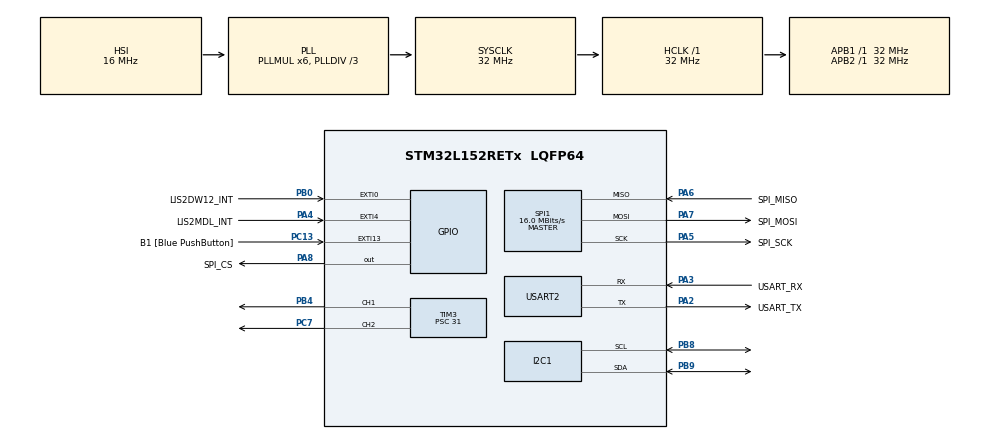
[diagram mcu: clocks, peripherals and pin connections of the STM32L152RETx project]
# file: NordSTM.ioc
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I2C1.I2C_Mode=I2C_Fast
Mcu.Family=STM32L1
Mcu.Name=STM32L152RETx
Mcu.Package=LQFP64
NVIC.EXTI15_10_IRQn=true\:0\:0\:false\:false\:true\:true\:true\:true
NVIC.EXTI4_IRQn=true\:0\:0\:false\:false\:true\:true\:true\:true
NVIC.PriorityGroup=NVIC_PRIORITYGROUP_0
NVIC.TIM3_IRQn=true\:0\:0\:false\:false\:true\:true\:true\:true
PA13.GPIO_Label=TMS
PA13.Mode=Serial_Wire
PA13.Signal=SYS_JTMS-SWDIO
PA14.GPIO_Label=TCK
PA14.Mode=Serial_Wire
PA14.Signal=SYS_JTCK-SWCLK
PA2.GPIO_Label=USART_TX
PA2.Mode=Asynchronous
PA2.Signal=USART2_TX
PA3.GPIO_Label=USART_RX
PA3.Mode=Asynchronous
PA3.Signal=USART2_RX
PA4.GPIO_Label=LIS2MDL_INT
PA4.Signal=GPXTI4
PA5.GPIO_Label=SPI_SCK
PA5.Mode=Full_Duplex_Master
PA5.Signal=SPI1_SCK
PA6.GPIO_Label=SPI_MISO
PA6.Mode=Full_Duplex_Master
PA6.Signal=SPI1_MISO
PA7.GPIO_Label=SPI_MOSI
PA7.Mode=Full_Duplex_Master
PA7.Signal=SPI1_MOSI
PA8.GPIO_Label=SPI_CS
PA8.Signal=GPIO_Output
PB0.GPIO_Label=LIS2DW12_INT
PB0.Signal=GPXTI0
PB3.GPIO_Label=SWO
PB3.Signal=SYS_JTDO-TRACESWO
PB4.Signal=S_TIM3_CH1
PB8.Mode=I2C
PB8.Signal=I2C1_SCL
PB9.Mode=I2C
PB9.Signal=I2C1_SDA
PC13-WKUP2.GPIO_Label=B1 [Blue PushButton]
PC13-WKUP2.Signal=GPXTI13
PC7.Signal=S_TIM3_CH2
PH1-OSC_OUT.Signal=RCC_OSC_OUT
ProjectManager.HeapSize=0x200
ProjectManager.StackSize=0x400
ProjectManager.TargetToolchain=STM32CubeIDE
RCC.48MHZClocksFreq_Value=48000000
RCC.AHBFreq_Value=32000000
RCC.APB1Freq_Value=32000000
RCC.APB1TimFreq_Value=32000000
RCC.APB2Freq_Value=32000000
RCC.APB2TimFreq_Value=32000000
RCC.HCLKFreq_Value=32000000
RCC.HSE_VALUE=8000000
RCC.HSI_VALUE=16000000
RCC.LSE_VALUE=32768
RCC.MSI_VALUE=2097000
RCC.PLLDIV=RCC_PLL_DIV3
RCC.PLLMUL=RCC_PLL_MUL6
RCC.RTCClockSelectionVirtual=RCC_RTCCLKSOURCE_LSE
RCC.SYSCLKFreq_VALUE=32000000
RCC.SYSCLKSource=RCC_SYSCLKSOURCE_PLLCLK
RCC.USBOutput=48000000
RCC.VCOOutputFreq_Value=96000000
SH.S_TIM3_CH1.0=TIM3_CH1,PWM Generation1 CH1
SH.S_TIM3_CH2.0=TIM3_CH2,PWM Generation2 CH2
SPI1.CalculateBaudRate=16.0 MBits/s
SPI1.Direction=SPI_DIRECTION_2LINES
SPI1.Mode=SPI_MODE_MASTER
SPI1.VirtualType=VM_MASTER
TIM3.Channel-PWM\ Generation1\ CH1=TIM_CHANNEL_1
TIM3.Channel-PWM\ Generation2\ CH2=TIM_CHANNEL_2
TIM3.Period=2278
TIM3.Prescaler=31
TIM3.Pulse-PWM\ Generation1\ CH1=500
TIM3.Pulse-PWM\ Generation2\ CH2=1139
USART2.VirtualMode=VM_ASYNC
board=NUCLEO-L152RE

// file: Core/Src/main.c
/* USER CODE BEGIN Header */
/* USER CODE END Header */
#include "main.h"

/* USER CODE BEGIN Includes */
#include <string.h>
#include <stdio.h>
#include "lis2mdl_reg.h"
#include <cycle_dwt.h>
#include "NanoEdgeAI.h"
#include "knowledge.h"

#include <strings.h>
#include "max7219_Yncrea2.h"
/* USER CODE END Includes */

/* USER CODE BEGIN PD */
/************************************************************ NEAI algorithm defines begin ************************************************************/
/************************************************************ Global settings part ************************************************************/
#ifndef AXIS
  #define AXIS              3                   /* Axis should be defined between 1 and 3 */
#endif
#ifndef SAMPLES
  #define SAMPLES           128                 /* Should be between 16 & 4096 */
#endif
/************************************************************ Sensors configuration part ************************************************************/
#ifndef MAGNETOMETER_ODR
  #define MAGNETOMETER_ODR  LIS2MDL_ODR_100Hz   /* Shoud be between LIS2MDL_ODR_10Hz and LIS2MDL_ODR_100Hz */
#endif
/************************************************************ Datalogger / NEAI mode part ************************************************************/
#ifndef NEAI_MODE
  #define NEAI_MODE         0                   /* 0: Datalogger mode, 1: NEAI functions mode */
#endif
//#if (NEAI_MODE == 1)
  //#ifndef NEAI_LEARN_NB
   // #define NEAI_LEARN_NB   20                  /* Number of buffers to be learn by the NEAI library */
  //#endif
//#endif
#if (NEAI_MODE)
#ifndef NB_CLASSES
#define NB_CLASSES 5 /* Number of NEAI classes */
#endif
#endif

I2C_HandleTypeDef hi2c1;

SPI_HandleTypeDef hspi1;

TIM_HandleTypeDef htim3;

UART_HandleTypeDef huart2;

/* USER CODE BEGIN PV */
static int16_t data_raw_magnetic[3];
static uint8_t whoamI, rst;
uint8_t neai_similarity = 0, neai_state = 0;
volatile uint8_t drdy = 0;
uint16_t neai_cnt = 0, drdy_counter = 0, id_class =0;
float neai_time = 0.0;
float neai_buffer[AXIS * SAMPLES] = {0};
stmdev_ctx_t dev_ctx;

#if (NEAI_MODE)
static float class_output_buffer[NB_CLASSES];
const char *id2class[NB_CLASSES + 1] = {"TECHNOLOGIAAAA",  "NINO FERRER", "DID YOU SAID OIL", "DA KOMRAD" ,"NORDSCHLEIFEN"};
#endif

uint8_t buzzerState = 0;
uint8_t motorState = 0;
/* USER CODE END PV */

void SystemClock_Config(void);
static void MX_GPIO_Init(void);
static void MX_USART2_UART_Init(void);
static void MX_I2C1_Init(void);
static void MX_TIM3_Init(void);
static void MX_SPI1_Init(void);
/* USER CODE BEGIN PFP */
static int32_t platform_write(void *handle, uint8_t reg, const uint8_t *bufp, uint16_t len);
static int32_t platform_read(void *handle, uint8_t reg, uint8_t *bufp, uint16_t len);
static void lis2mdl_initialize(void);
static void iks01a3_i2c_stuck_quirk(void);

/* USER CODE END PFP */

int main(void)
{

  /* USER CODE BEGIN 1 */
	  /* Initialize mems driver interface */
	  dev_ctx.write_reg = platform_write;
	  dev_ctx.read_reg = platform_read;
	  dev_ctx.handle = &hi2c1;
  /* USER CODE END 1 */

  /* MCU Configuration--------------------------------------------------------*/

  /* Reset of all peripherals, Initializes the Flash interface and the Systick. */
  HAL_Init();

  /* Configure the system clock */
  SystemClock_Config();

  /* USER CODE BEGIN SysInit */
  iks01a3_i2c_stuck_quirk();
  /* USER CODE END SysInit */

  /* Initialize all configured peripherals */
  MX_GPIO_Init();
  MX_USART2_UART_Init();
  MX_I2C1_Init();
  MX_TIM3_Init();
  MX_SPI1_Init();
  /* USER CODE BEGIN 2 */
  printf("Init SPI \n");
  MAX7219_Init();
  printf("Clear \n");
  MAX7219_Clear();

  KIN1_InitCycleCounter();
  KIN1_EnableCycleCounter();
  lis2mdl_initialize();
  if (NEAI_MODE) {
    //neai_state = neai_anomalydetection_init();
	  neai_state = neai_classification_init(knowledge);
    printf("Initialize NEAI library. NEAI init return: %d.\n",  neai_state);
  }
  /* USER CODE END 2 */

  /* Infinite loop */
  /* USER CODE BEGIN WHILE */
  while (1)
  {
    if (drdy) {
      /* Reset data ready condition */
      drdy = 0;
      /* Read magnetic field data */
      memset(data_raw_magnetic, 0x00, 3 * sizeof(int16_t));
      lis2mdl_magnetic_raw_get(&dev_ctx, data_raw_magnetic);
      for (uint8_t i = 0; i < AXIS; i++) {
        neai_buffer[(AXIS * drdy_counter) + i] = lis2mdl_from_lsb_to_mgauss(data_raw_magnetic[i]);
      }
      drdy_counter++;
      if (drdy_counter >= SAMPLES) {
        /* Set device in power down mode */
        lis2mdl_operating_mode_set(&dev_ctx, LIS2MDL_POWER_DOWN);
#if NEAI_MODE
        /*uint32_t cycles_cnt = 0;
        if (neai_cnt < NEAI_LEARN_NB) {
          neai_cnt++;
          KIN1_ResetCycleCounter();
          neai_state = neai_anomalydetection_learn(neai_buffer);
          cycles_cnt = KIN1_GetCycleCounter();
          neai_time = (cycles_cnt * 1000000.0) / HAL_RCC_GetSysClockFreq();
          printf("Learn: %d / %d. NEAI learn return: %d. Cycles counter: %ld = %.1f µs at %ld Hz.\n",
                neai_cnt, NEAI_LEARN_NB, neai_state, cycles_cnt, neai_time, HAL_RCC_GetSysClockFreq());
        }
        else {
          KIN1_ResetCycleCounter();
          neai_state = neai_anomalydetection_detect(neai_buffer, &neai_similarity);
          cycles_cnt = KIN1_GetCycleCounter();
          neai_time = (cycles_cnt * 1000000.0) / HAL_RCC_GetSysClockFreq();
          printf("Similarity: %d / 100. NEAI detect return: %d. Cycles counter: %ld = %.1f µs at %ld Hz.\n",
                neai_similarity, neai_state, cycles_cnt, neai_time, HAL_RCC_GetSysClockFreq());
        }-*/
        neai_state = neai_classification(neai_buffer, class_output_buffer, &id_class);
        printf("Class: %s. NEAI classification return: %d.\r\n", id2class[id_class], neai_state);
        //Direction(id2class[id_class]);
#else
        for (uint16_t i = 0; i < AXIS * SAMPLES; i++) {
          printf("%.3f ", neai_buffer[i]);
        }
        printf("\n");
#endif
        /* Reset drdy_counter in order to get a new buffer */
        drdy_counter = 0;
        /* Clean neai buffer */
        memset(neai_buffer, 0x00, AXIS * SAMPLES * sizeof(float));
        /* Set device in continuous mode */
        lis2mdl_operating_mode_set(&dev_ctx, LIS2MDL_CONTINUOUS_MODE);
        HAL_Delay(20);
      }
    }
    /* USER CODE END WHILE */

    /* USER CODE BEGIN 3 */
  }

    /* USER CODE BEGIN 3 */
  /* USER CODE END 3 */
}

void SystemClock_Config(void)
{
  RCC_OscInitTypeDef RCC_OscInitStruct = {0};
  RCC_ClkInitTypeDef RCC_ClkInitStruct = {0};

  /** Configure the main internal regulator output voltage
  */
  __HAL_PWR_VOLTAGESCALING_CONFIG(PWR_REGULATOR_VOLTAGE_SCALE1);

  /** Initializes the RCC Oscillators according to the specified parameters
  * in the RCC_OscInitTypeDef structure.
  */
  RCC_OscInitStruct.OscillatorType = RCC_OSCILLATORTYPE_HSI;
  RCC_OscInitStruct.HSIState = RCC_HSI_ON;
  RCC_OscInitStruct.HSICalibrationValue = RCC_HSICALIBRATION_DEFAULT;
  RCC_OscInitStruct.PLL.PLLState = RCC_PLL_ON;
  RCC_OscInitStruct.PLL.PLLSource = RCC_PLLSOURCE_HSI;
  RCC_OscInitStruct.PLL.PLLMUL = RCC_PLL_MUL6;
  RCC_OscInitStruct.PLL.PLLDIV = RCC_PLL_DIV3;
  if (HAL_RCC_OscConfig(&RCC_OscInitStruct) != HAL_OK)
  {
    Error_Handler();
  }

  /** Initializes the CPU, AHB and APB buses clocks
  */
  RCC_ClkInitStruct.ClockType = RCC_CLOCKTYPE_HCLK|RCC_CLOCKTYPE_SYSCLK
                              |RCC_CLOCKTYPE_PCLK1|RCC_CLOCKTYPE_PCLK2;
  RCC_ClkInitStruct.SYSCLKSource = RCC_SYSCLKSOURCE_PLLCLK;
  RCC_ClkInitStruct.AHBCLKDivider = RCC_SYSCLK_DIV1;
  RCC_ClkInitStruct.APB1CLKDivider = RCC_HCLK_DIV1;
  RCC_ClkInitStruct.APB2CLKDivider = RCC_HCLK_DIV1;

  if (HAL_RCC_ClockConfig(&RCC_ClkInitStruct, FLASH_LATENCY_1) != HAL_OK)
  {
    Error_Handler();
  }
}

static void MX_I2C1_Init(void)
{

  hi2c1.Instance = I2C1;
  hi2c1.Init.ClockSpeed = 400000;
  hi2c1.Init.DutyCycle = I2C_DUTYCYCLE_2;
  hi2c1.Init.OwnAddress1 = 0;
  hi2c1.Init.AddressingMode = I2C_ADDRESSINGMODE_7BIT;
  hi2c1.Init.DualAddressMode = I2C_DUALADDRESS_DISABLE;
  hi2c1.Init.OwnAddress2 = 0;
  hi2c1.Init.GeneralCallMode = I2C_GENERALCALL_DISABLE;
  hi2c1.Init.NoStretchMode = I2C_NOSTRETCH_DISABLE;
  if (HAL_I2C_Init(&hi2c1) != HAL_OK)
  {
    Error_Handler();
  }

}

static void MX_SPI1_Init(void)
{

  /* SPI1 parameter configuration*/
  hspi1.Instance = SPI1;
  hspi1.Init.Mode = SPI_MODE_MASTER;
  hspi1.Init.Direction = SPI_DIRECTION_2LINES;
  hspi1.Init.DataSize = SPI_DATASIZE_8BIT;
  hspi1.Init.CLKPolarity = SPI_POLARITY_LOW;
  hspi1.Init.CLKPhase = SPI_PHASE_1EDGE;
  hspi1.Init.NSS = SPI_NSS_SOFT;
  hspi1.Init.BaudRatePrescaler = SPI_BAUDRATEPRESCALER_2;
  hspi1.Init.FirstBit = SPI_FIRSTBIT_MSB;
  hspi1.Init.TIMode = SPI_TIMODE_DISABLE;
  hspi1.Init.CRCCalculation = SPI_CRCCALCULATION_DISABLE;
  hspi1.Init.CRCPolynomial = 10;
  if (HAL_SPI_Init(&hspi1) != HAL_OK)
  {
    Error_Handler();
  }

}

static void MX_TIM3_Init(void)
{

  TIM_MasterConfigTypeDef sMasterConfig = {0};
  TIM_OC_InitTypeDef sConfigOC = {0};

  htim3.Instance = TIM3;
  htim3.Init.Prescaler = 31;
  htim3.Init.CounterMode = TIM_COUNTERMODE_UP;
  htim3.Init.Period = 2278;
  htim3.Init.ClockDivision = TIM_CLOCKDIVISION_DIV1;
  htim3.Init.AutoReloadPreload = TIM_AUTORELOAD_PRELOAD_DISABLE;
  if (HAL_TIM_PWM_Init(&htim3) != HAL_OK)
  {
    Error_Handler();
  }
  sMasterConfig.MasterOutputTrigger = TIM_TRGO_RESET;
  sMasterConfig.MasterSlaveMode = TIM_MASTERSLAVEMODE_DISABLE;
  if (HAL_TIMEx_MasterConfigSynchronization(&htim3, &sMasterConfig) != HAL_OK)
  {
    Error_Handler();
  }
  sConfigOC.OCMode = TIM_OCMODE_PWM1;
  sConfigOC.Pulse = 500;
  sConfigOC.OCPolarity = TIM_OCPOLARITY_HIGH;
  sConfigOC.OCFastMode = TIM_OCFAST_DISABLE;
  if (HAL_TIM_PWM_ConfigChannel(&htim3, &sConfigOC, TIM_CHANNEL_1) != HAL_OK)
  {
    Error_Handler();
  }
  sConfigOC.Pulse = 1139;
  if (HAL_TIM_PWM_ConfigChannel(&htim3, &sConfigOC, TIM_CHANNEL_2) != HAL_OK)
  {
    Error_Handler();
  }
  HAL_TIM_MspPostInit(&htim3);

}

static void MX_USART2_UART_Init(void)
{

  huart2.Instance = USART2;
  huart2.Init.BaudRate = 115200;
  huart2.Init.WordLength = UART_WORDLENGTH_8B;
  huart2.Init.StopBits = UART_STOPBITS_1;
  huart2.Init.Parity = UART_PARITY_NONE;
  huart2.Init.Mode = UART_MODE_TX_RX;
  huart2.Init.HwFlowCtl = UART_HWCONTROL_NONE;
  huart2.Init.OverSampling = UART_OVERSAMPLING_16;
  if (HAL_UART_Init(&huart2) != HAL_OK)
  {
    Error_Handler();
  }

}

static void MX_GPIO_Init(void)
{
  GPIO_InitTypeDef GPIO_InitStruct = {0};

  /* GPIO Ports Clock Enable */
  __HAL_RCC_GPIOC_CLK_ENABLE();
  __HAL_RCC_GPIOH_CLK_ENABLE();
  __HAL_RCC_GPIOA_CLK_ENABLE();
  __HAL_RCC_GPIOB_CLK_ENABLE();

  /*Configure GPIO pin Output Level */
  HAL_GPIO_WritePin(SPI_CS_GPIO_Port, SPI_CS_Pin, GPIO_PIN_RESET);

  /*Configure GPIO pin : B1_Pin */
  GPIO_InitStruct.Pin = B1_Pin;
  GPIO_InitStruct.Mode = GPIO_MODE_IT_RISING;
  GPIO_InitStruct.Pull = GPIO_NOPULL;
  HAL_GPIO_Init(B1_GPIO_Port, &GPIO_InitStruct);

  /*Configure GPIO pin : LIS2MDL_INT_Pin */
  GPIO_InitStruct.Pin = LIS2MDL_INT_Pin;
  GPIO_InitStruct.Mode = GPIO_MODE_IT_RISING;
  GPIO_InitStruct.Pull = GPIO_NOPULL;
  HAL_GPIO_Init(LIS2MDL_INT_GPIO_Port, &GPIO_InitStruct);

  /*Configure GPIO pin : LIS2DW12_INT_Pin */
  GPIO_InitStruct.Pin = LIS2DW12_INT_Pin;
  GPIO_InitStruct.Mode = GPIO_MODE_IT_RISING;
  GPIO_InitStruct.Pull = GPIO_NOPULL;
  HAL_GPIO_Init(LIS2DW12_INT_GPIO_Port, &GPIO_InitStruct);

  /*Configure GPIO pin : SPI_CS_Pin */
  GPIO_InitStruct.Pin = SPI_CS_Pin;
  GPIO_InitStruct.Mode = GPIO_MODE_OUTPUT_PP;
  GPIO_InitStruct.Pull = GPIO_NOPULL;
  GPIO_InitStruct.Speed = GPIO_SPEED_FREQ_LOW;
  HAL_GPIO_Init(SPI_CS_GPIO_Port, &GPIO_InitStruct);

  /* EXTI interrupt init*/
  HAL_NVIC_SetPriority(EXTI4_IRQn, 0, 0);
  HAL_NVIC_EnableIRQ(EXTI4_IRQn);

  HAL_NVIC_SetPriority(EXTI15_10_IRQn, 0, 0);
  HAL_NVIC_EnableIRQ(EXTI15_10_IRQn);

}

/* USER CODE BEGIN 4 */

void motor(uint8_t motorState){
	if(motorState){
		printf("Moteur ON \n");
		HAL_TIM_PWM_Start_IT(&htim3, TIM_CHANNEL_1);
	}else{
		printf("Moteur OFF \n");
		HAL_TIM_PWM_Stop_IT(&htim3, TIM_CHANNEL_1);
	}
}

void buzzer(uint8_t buzzerState){
	if(buzzerState){
		printf("Buzzer ON \n");
		HAL_TIM_PWM_Start_IT(&htim3, TIM_CHANNEL_2);
	}else{
		printf("Buzzer OFF \n");
		HAL_TIM_PWM_Stop_IT(&htim3, TIM_CHANNEL_2);
	}
}

void Direction(const char *class){

	if(strcmp(class ,"TECHNOLOGIAAAA" ) == 0){
		MAX7219_DisplayChar(4, ' ');
		MAX7219_DisplayChar(3, 'R');
		MAX7219_DisplayChar(2, 'R');
		MAX7219_DisplayChar(1, 'E');
		buzzerState = 1;
	}
	else{
		buzzerState = 0;
	}
	if(strcmp(class ,"NINO FERRER" ) == 0){
		MAX7219_DisplayChar(4, 'S');
		MAX7219_DisplayChar(3, ' ');
		MAX7219_DisplayChar(2, ' ');
		MAX7219_DisplayChar(1, ' ');
	}
	if(strcmp(class ,"DID YOU SAID OIL" ) == 0){
		MAX7219_DisplayChar(4, 'O');
		MAX7219_DisplayChar(3, ' ');
		MAX7219_DisplayChar(2, ' ');
		MAX7219_DisplayChar(1, ' ');
	}
	if(strcmp(class ,"DA KOMRAD" ) == 0){
		MAX7219_DisplayChar(4, 'E');
		MAX7219_DisplayChar(3, ' ');
		MAX7219_DisplayChar(2, ' ');
		MAX7219_DisplayChar(1, ' ');
	}
	if(strcmp(class ,"NORDSCHLEIFEN" ) == 0){
		MAX7219_DisplayChar(4, 'N');
		MAX7219_DisplayChar(3, ' ');
		MAX7219_DisplayChar(2, ' ');
		MAX7219_DisplayChar(1, ' ');
		TIM3->CCR1 = 1000;
		motorState = 1;
		motor(motorState);
	}
	else{
		motorState = 0;
		motor(motorState);
	}

}

/**
  * @brief  Redirecting stdout to USART2 which is connected on the STLINK port
  * @retval
  * @param
  */
int __io_putchar(int ch)
{
 uint8_t c[1];
 c[0] = ch & 0x00FF;
 HAL_UART_Transmit(&huart2, &*c, 1, 10);
 return ch;
}

/**
  * @brief  EXTI line rising detection callback.
  * @param  GPIO_Pin Specifies the port pin connected to corresponding EXTI line.
  * @retval None
  */
void HAL_GPIO_EXTI_Callback(uint16_t GPIO_Pin)
{
  switch(GPIO_Pin) {
  case LIS2MDL_INT_Pin:
    drdy = 1;
    break;
  }
}

/*
 * @brief  Write generic device register (platform dependent)
 *
 * @param  handle    customizable argument. In this examples is used in
 *                   order to select the correct sensor bus handler.
 * @param  reg       register to write
 * @param  bufp      pointer to data to write in register reg
 * @param  len       number of consecutive register to write
 *
 */
static int32_t platform_write(void *handle, uint8_t reg, const uint8_t *bufp, uint16_t len)
{
  HAL_I2C_Mem_Write(handle, LIS2MDL_I2C_ADD, reg, I2C_MEMADD_SIZE_8BIT, (uint8_t*) bufp, len, 1000);
  return 0;
}

/*
 * @brief  Read generic device register (platform dependent)
 *
 * @param  handle    customizable argument. In this examples is used in
 *                   order to select the correct sensor bus handler.
 * @param  reg       register to read
 * @param  bufp      pointer to buffer that store the data read
 * @param  len       number of consecutive register to read
 *
 */
static int32_t platform_read(void *handle, uint8_t reg, uint8_t *bufp, uint16_t len)
{
  HAL_I2C_Mem_Read(handle, LIS2MDL_I2C_ADD, reg, I2C_MEMADD_SIZE_8BIT, bufp, len, 1000);
  return 0;
}

/*
 * @brief  Initialize LIS2MDL sensor interface
 *
 * @param  No
 *
 * @return No
 *
 */
static void lis2mdl_initialize()
{
  /* Check device ID */
  whoamI = 0;

  do {
    HAL_Delay(20);
    lis2mdl_device_id_get(&dev_ctx, &whoamI);
  } while(whoamI != LIS2MDL_ID);

  /* Restore default configuration */
  lis2mdl_reset_set(&dev_ctx, PROPERTY_ENABLE);

  do {
    lis2mdl_reset_get(&dev_ctx, &rst);
  } while (rst);

  /* Enable Block Data Update */
  lis2mdl_block_data_update_set(&dev_ctx, PROPERTY_ENABLE);
  /* Set Output Data Rate */
  lis2mdl_data_rate_set(&dev_ctx, MAGNETOMETER_ODR);
  /* Set / Reset sensor mode */
  lis2mdl_set_rst_mode_set(&dev_ctx, LIS2MDL_SENS_OFF_CANC_EVERY_ODR);
  /* Enable temperature compensation */
  lis2mdl_offset_temp_comp_set(&dev_ctx, PROPERTY_ENABLE);
  /* Set device in continuous mode */
  lis2mdl_operating_mode_set(&dev_ctx, LIS2MDL_CONTINUOUS_MODE);
  /* Enable interrupt generation on new data ready */
  lis2mdl_drdy_on_pin_set(&dev_ctx, PROPERTY_ENABLE);
}

/*
 * Pressing the reset button while the sensor is answering to a read request
 * might lead to disaster.
 * In this case the device is stuck, waiting for pulses on SCL to finish the
 * previous transfer.
 * While stuck the sensor keep the SDA low.
 *
 * As a workaround we simply configure the SCL pin as a GPIO and send a burst
 * of pulses to bring the sensor back to an idle state.
 */
static void iks01a3_i2c_stuck_quirk(void)
{
  GPIO_InitTypeDef GPIO_InitStruct = {0};

  /* GPIO Ports Clock Enable */
  __HAL_RCC_GPIOB_CLK_ENABLE();

  /* Configure SCL as a GPIO */
  GPIO_InitStruct.Pin = SCL_PIN;
  GPIO_InitStruct.Mode = GPIO_MODE_OUTPUT_PP;
  GPIO_InitStruct.Pull = GPIO_NOPULL;
  GPIO_InitStruct.Speed = GPIO_SPEED_FREQ_LOW;
  GPIO_InitStruct.Alternate = GPIO_AF4_I2C1;
  HAL_GPIO_Init(SCL_PORT, &GPIO_InitStruct);

  /* Send a burst of pulses on SCL */
  int pulses = 20;
  do {
    HAL_Delay(1);
    HAL_GPIO_WritePin(SCL_PORT, SCL_PIN, GPIO_PIN_RESET);
    HAL_Delay(1);
    HAL_GPIO_WritePin(SCL_PORT, SCL_PIN, GPIO_PIN_SET);
  } while (pulses--);

  /* GPIO Ports Clock Enable */
  __HAL_RCC_GPIOB_CLK_DISABLE();
}

/* USER CODE END 4 */

void Error_Handler(void)
{
}
